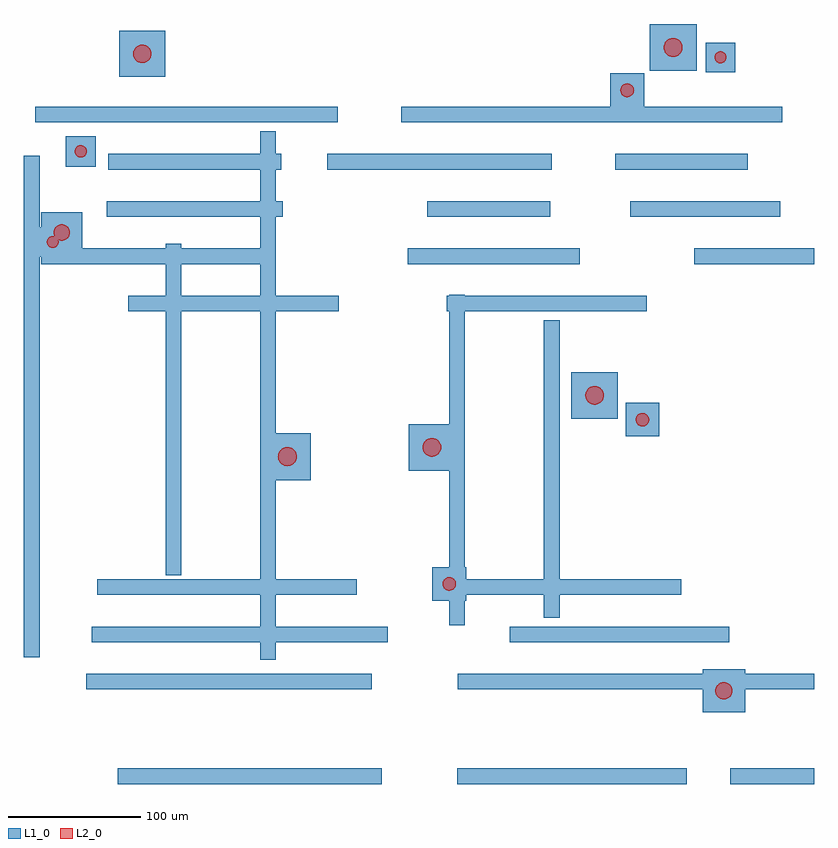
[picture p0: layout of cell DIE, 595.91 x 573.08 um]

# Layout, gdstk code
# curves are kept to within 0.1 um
import gdstk
lib = gdstk.Library(unit=1e-6, precision=1e-09)
def R(c, l, rs):  # rectangles x0, y0, x1, y1
    for r in rs: c.add(gdstk.rectangle(r[:2], r[2:], *l))
def P(c, l, *ps):  # polygons
    for p in ps: c.add(gdstk.Polygon(p, *l))
L1_0 = (1, 0)
L2_0 = (2, 0)

die = lib.new_cell('DIE')
R(die, L1_0, [(104.95,34.089,304.071,45.911), (361.045,34.089,534.036,45.911), (566.585,34.089,630,45.911), (545.85,88.259,578.057,120.465), (81.191,105.376,296.576,117.198), (361.107,105.376,630,117.198), (212.307,127.841,224.129,526.37), (34.089,129.531,45.911,507.677), (85.41,141.02,308.511,152.842), (400.471,141.02,566.034,152.842), (354.881,153.968,366.703,403.195), (426.168,159.299,437.99,383.696), (342.158,172.272,367.542,197.656), (89.364,176.663,284.942,188.485), (342.863,176.663,529.747,188.485), (141.02,191.372,152.842,441.341), (215.051,263.205,250.576,298.73), (324.286,270.424,359.32,305.459), (487.903,296.167,513.156,321.42), (446.949,309.641,481.956,344.649), (112.745,390.525,271.46,402.346), (352.897,390.525,503.709,402.346), (47.17,426.168,213.326,437.99), (323.451,426.168,453.426,437.99), (539.513,426.168,630,437.99), (44.773,431.651,66.997,453.875), (47.385,434.623,77.987,465.224), (96.581,461.812,229.242,473.633), (338.126,461.812,431.011,473.633), (491.261,461.812,604.323,473.633), (97.596,497.455,228.337,509.277), (263.019,497.455,432.02,509.277), (479.886,497.455,579.852,509.277), (65.539,499.671,88.473,522.605), (42.857,533.099,270.695,544.92), (318.652,533.099,605.917,544.92), (476.19,544.314,501.916,570.04), (106.078,567.443,140.537,601.902), (548.254,570.936,570.46,593.142), (505.938,571.769,541.339,607.17)])
P(die, L2_0, [(568.395,104.362),(568.046,106.454),(567.441,107.735),(566.57,108.854),(564.862,110.11),(563.535,110.606),(562.131,110.801),(560.719,110.684),(559.366,110.261),(557.591,109.101),(556.66,108.033),(555.986,106.786),(555.522,104.717),(555.6,103.302),(555.986,101.938),(556.66,100.692),(557.591,99.623),(559.366,98.464),(560.719,98.041),(562.131,97.923),(563.535,98.118),(564.862,98.615),(566.57,99.871),(567.779,101.613),(568.239,102.954)],
  [(563.799,582.039),(563.461,583.738),(562.498,585.179),(561.057,586.142),(559.357,586.48),(557.658,586.142),(556.217,585.179),(555.254,583.738),(554.916,582.039),(555.254,580.339),(556.217,578.898),(557.658,577.936),(559.357,577.597),(561.057,577.936),(562.498,578.898),(563.461,580.339)],
  [(530.719,589.469),(530.564,590.941),(530.107,592.349),(529.366,593.631),(528.376,594.731),(527.179,595.601),(525.826,596.203),(523.638,596.549),(521.451,596.203),(520.098,595.601),(518.901,594.731),(517.91,593.631),(517.17,592.349),(516.713,590.941),(516.558,589.469),(516.713,587.997),(517.17,586.589),(518.377,584.732),(519.477,583.741),(520.759,583.001),(522.166,582.544),(523.638,582.389),(525.111,582.544),(526.518,583.001),(528.376,584.208),(529.366,585.308),(530.107,586.589),(530.564,587.997)],
  [(130.2,584.672),(130.044,586.129),(129.584,587.52),(128.372,589.347),(127.269,590.312),(125.988,591.022),(124.585,591.445),(123.124,591.562),(121.672,591.367),(120.294,590.87),(118.5,589.61),(117.192,587.85),(116.659,586.485),(116.426,585.039),(116.504,583.576),(116.889,582.162),(118.002,580.273),(119.052,579.251),(120.294,578.474),(121.672,577.977),(123.124,577.783),(124.585,577.9),(125.988,578.323),(127.269,579.033),(128.372,579.997),(129.584,581.824),(130.044,583.215)],
  [(505.58,308.793),(505.239,310.618),(504.262,312.196),(502.781,313.314),(500.995,313.822),(499.147,313.651),(498.004,313.167),(497.013,312.419),(495.941,310.904),(495.488,309.104),(495.716,307.262),(496.235,306.134),(497.013,305.167),(498.561,304.142),(500.374,303.745),(501.61,303.86),(502.781,304.272),(504.262,305.391),(505.239,306.969)],
  [(494.198,557.177),(493.851,559.036),(493.253,560.15),(492.401,561.084),(490.763,562.03),(488.895,562.32),(487.048,561.915),(485.471,560.871),(484.379,559.327),(483.918,557.494),(484.15,555.617),(484.679,554.468),(485.471,553.483),(487.048,552.439),(488.895,552.034),(490.763,552.324),(492.401,553.27),(493.253,554.204),(493.851,555.318)],
  [(348.81,287.942),(348.657,289.398),(348.204,290.792),(347.472,292.06),(346.492,293.149),(344.653,294.343),(343.26,294.795),(341.803,294.948),(340.346,294.795),(338.953,294.343),(337.115,293.149),(336.135,292.06),(335.402,290.792),(334.95,289.398),(334.796,287.942),(335.139,285.776),(335.735,284.438),(336.596,283.253),(337.685,282.273),(338.953,281.541),(340.346,281.088),(341.803,280.935),(343.969,281.278),(345.307,281.873),(346.492,282.734),(347.472,283.823),(348.204,285.092),(348.657,286.485)],
  [(68.806,449.923),(68.463,451.945),(67.868,453.18),(67.014,454.251),(65.341,455.438),(64.048,455.89),(62.686,456.044),(61.324,455.89),(60.031,455.438),(58.358,454.251),(57.504,453.18),(56.909,451.945),(56.566,449.923),(56.909,447.902),(57.504,446.667),(58.358,445.596),(60.031,444.409),(61.324,443.957),(62.686,443.803),(64.048,443.957),(65.341,444.409),(67.014,445.596),(67.868,446.667),(68.463,447.902)],
  [(60.329,442.763),(59.991,444.464),(59.028,445.906),(57.586,446.87),(55.885,447.208),(54.184,446.87),(52.742,445.906),(51.778,444.464),(51.44,442.763),(51.778,441.062),(52.742,439.62),(54.184,438.657),(55.885,438.318),(57.586,438.657),(59.028,439.62),(59.991,441.062)],
  [(471.454,327.145),(471.301,328.601),(470.849,329.993),(469.656,331.83),(468.568,332.809),(467.3,333.541),(465.908,333.993),(464.453,334.146),(462.997,333.993),(461.605,333.541),(460.337,332.809),(459.249,331.83),(458.056,329.993),(457.604,328.601),(457.451,327.145),(457.604,325.689),(458.056,324.297),(459.249,322.46),(460.337,321.481),(461.605,320.749),(462.997,320.296),(464.453,320.143),(465.908,320.296),(467.3,320.749),(468.568,321.481),(469.656,322.46),(470.849,324.297),(471.301,325.689)],
  [(81.593,511.138),(81.258,512.859),(80.301,514.329),(78.863,515.332),(77.153,515.722),(75.422,515.442),(73.923,514.533),(72.874,513.128),(72.429,511.432),(72.653,509.692),(73.514,508.164),(74.382,507.376),(75.422,506.833),(77.153,506.553),(78.863,506.944),(80.301,507.947),(81.258,509.416)],
  [(239.919,280.967),(239.571,283.163),(238.967,284.52),(238.094,285.721),(236.99,286.715),(235.703,287.458),(234.291,287.917),(232.814,288.072),(230.618,287.725),(229.261,287.12),(228.059,286.247),(227.066,285.143),(226.323,283.857),(225.864,282.444),(225.709,280.967),(225.864,279.49),(226.323,278.077),(227.066,276.791),(228.059,275.687),(229.261,274.814),(230.618,274.21),(232.814,273.862),(235.009,274.21),(236.366,274.814),(237.568,275.687),(238.562,276.791),(239.304,278.077),(239.763,279.49)],
  [(359.927,184.964),(359.584,186.798),(358.602,188.384),(357.113,189.509),(355.318,190.019),(353.461,189.847),(352.311,189.361),(351.316,188.609),(350.238,187.086),(349.783,185.277),(350.012,183.425),(350.895,181.781),(351.79,180.913),(352.871,180.289),(354.693,179.89),(356.537,180.176),(357.654,180.732),(358.602,181.544),(359.584,183.13)])

lib.write_gds('DIE.gds')
